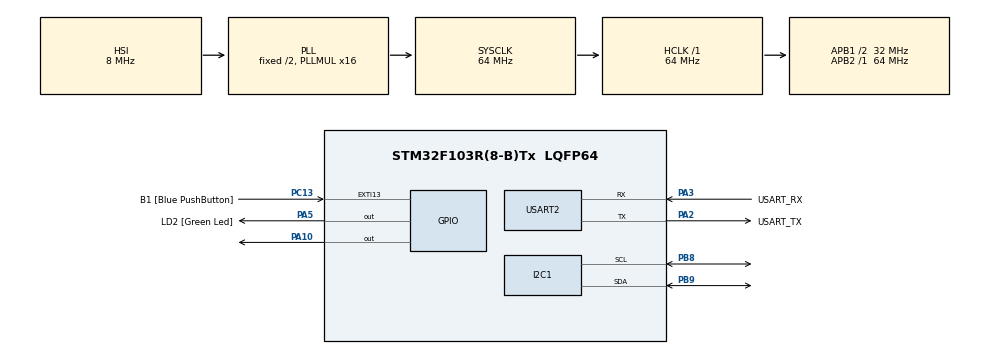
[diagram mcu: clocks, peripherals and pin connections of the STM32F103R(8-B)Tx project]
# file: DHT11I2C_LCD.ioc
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Mcu.Family=STM32F1
Mcu.Name=STM32F103R(8-B)Tx
Mcu.Package=LQFP64
NVIC.EXTI15_10_IRQn=true\:0\:0\:false\:false\:true\:true\:true\:true
NVIC.PriorityGroup=NVIC_PRIORITYGROUP_4
PA10.Signal=GPIO_Output
PA13.GPIO_Label=TMS
PA13.Mode=Serial_Wire
PA13.Signal=SYS_JTMS-SWDIO
PA14.GPIO_Label=TCK
PA14.Mode=Serial_Wire
PA14.Signal=SYS_JTCK-SWCLK
PA2.GPIO_Label=USART_TX
PA2.GPIO_Mode=GPIO_MODE_AF_PP
PA2.GPIO_PuPd=GPIO_NOPULL
PA2.GPIO_Speed=GPIO_SPEED_FREQ_LOW
PA2.Mode=Asynchronous
PA2.Signal=USART2_TX
PA3.GPIO_Label=USART_RX
PA3.GPIO_Mode=GPIO_MODE_AF_PP
PA3.GPIO_PuPd=GPIO_NOPULL
PA3.GPIO_Speed=GPIO_SPEED_FREQ_LOW
PA3.Mode=Asynchronous
PA3.Signal=USART2_RX
PA5.GPIO_Label=LD2 [Green Led]
PA5.GPIO_ModeDefaultOutputPP=GPIO_MODE_OUTPUT_PP
PA5.GPIO_PuPd=GPIO_NOPULL
PA5.GPIO_Speed=GPIO_SPEED_FREQ_LOW
PA5.Signal=GPIO_Output
PB3.GPIO_Label=SWO
PB3.Signal=SYS_JTDO-TRACESWO
PB8.Mode=I2C
PB8.Signal=I2C1_SCL
PB9.Mode=I2C
PB9.Signal=I2C1_SDA
PC13-TAMPER-RTC.GPIO_Label=B1 [Blue PushButton]
PC13-TAMPER-RTC.GPIO_PuPd=GPIO_NOPULL
PC13-TAMPER-RTC.Signal=GPXTI13
PC14-OSC32_IN.Signal=RCC_OSC32_IN
PC15-OSC32_OUT.Signal=RCC_OSC32_OUT
PD0-OSC_IN.Signal=RCC_OSC_IN
PD1-OSC_OUT.Signal=RCC_OSC_OUT
ProjectManager.HeapSize=0x200
ProjectManager.StackSize=0x400
ProjectManager.TargetToolchain=STM32CubeIDE
RCC.AHBFreq_Value=64000000
RCC.APB1CLKDivider=RCC_HCLK_DIV2
RCC.APB1Freq_Value=32000000
RCC.APB1TimFreq_Value=64000000
RCC.APB2Freq_Value=64000000
RCC.APB2TimFreq_Value=64000000
RCC.HCLKFreq_Value=64000000
RCC.PLLMUL=RCC_PLL_MUL16
RCC.RTCClockSelection=RCC_RTCCLKSOURCE_LSE
RCC.SYSCLKFreq_VALUE=64000000
RCC.SYSCLKSource=RCC_SYSCLKSOURCE_PLLCLK
RCC.USBFreq_Value=64000000
TIM1.Prescaler=64-1
USART2.VirtualMode=VM_ASYNC
VP_TIM1_VS_ClockSourceINT.Mode=Internal
board=NUCLEO-F103RB

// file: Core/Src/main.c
/* USER CODE BEGIN Header */
/**
  ******************************************************************************
  * @file           : main.c
  * @brief          : Main program body
  ******************************************************************************
  * @attention
  *
  * Copyright (c) 2026 STMicroelectronics.
  * All rights reserved.
  *
  * This software is licensed under terms that can be found in the LICENSE file
  * in the root directory of this software component.
  * If no LICENSE file comes with this software, it is provided AS-IS.
  *
  ******************************************************************************
  */
/* USER CODE END Header */
#include "main.h"

/* USER CODE BEGIN Includes */
#include "liquidcrystal_i2c.h"
#include "dht11.h"
/* USER CODE END Includes */

I2C_HandleTypeDef hi2c1;

TIM_HandleTypeDef htim1;

UART_HandleTypeDef huart2;

void SystemClock_Config(void);
static void MX_GPIO_Init(void);
static void MX_I2C1_Init(void);
static void MX_TIM1_Init(void);
static void MX_USART2_UART_Init(void);

int main(void)
{

  /* USER CODE BEGIN 1 */
	uint8_t i_RH, d_RH, i_Tmp, d_Tmp;
  /* USER CODE END 1 */

  /* MCU Configuration--------------------------------------------------------*/

  /* Reset of all peripherals, Initializes the Flash interface and the Systick. */
  HAL_Init();

  /* Configure the system clock */
  SystemClock_Config();

  /* Initialize all configured peripherals */
  MX_GPIO_Init();
  MX_I2C1_Init();
  MX_TIM1_Init();
  MX_USART2_UART_Init();
  /* USER CODE BEGIN 2 */
  	  LCD_INIT();
  	  //printf("DHT11 Start!\n");
     HAL_TIM_Base_Start(&htim1);
     DHT11_Init();
     HAL_Delay(2000);

  /* USER CODE END 2 */

  /* Infinite loop */
  /* USER CODE BEGIN WHILE */
  while (1)
  {
	  DHT11_trriger();

	 	 	  Set_Pin_Input(DHT11_PORT, DHT11_PIN);
	 	 	  DHT11_dumi_read();
	 	 	  i_RH = DHT11_rx_Data();
	 	 	  d_RH = DHT11_rx_Data();
	 	 	  i_Tmp = DHT11_rx_Data();
	 	 	  d_Tmp = DHT11_rx_Data();

	 	 	  Set_Pin_Output(DHT11_PORT, DHT11_PIN);

	 	 	  HAL_GPIO_WritePin(DHT11_PORT, DHT11_PIN, 1);
	 	 	  //printf("temp = %d, humi = %d\n", i_Tmp, i_RH);

	 	 	  LCD_XY(0, 0);
	 	 	  LCD_DATA(i_Tmp/10+'0');
	 	 	  LCD_DATA(i_Tmp%10+'0');
	 	 	  LCD_XY(0,1);
	 	 	  LCD_DATA(i_RH/10+'0');
	 	 	  LCD_DATA(i_RH%10+'0');

	 	 	  HAL_Delay(1500);
    /* USER CODE END WHILE */

  }
}

void SystemClock_Config(void)
{
  RCC_OscInitTypeDef RCC_OscInitStruct = {0};
  RCC_ClkInitTypeDef RCC_ClkInitStruct = {0};

  /** Initializes the RCC Oscillators according to the specified parameters
  * in the RCC_OscInitTypeDef structure.
  */
  RCC_OscInitStruct.OscillatorType = RCC_OSCILLATORTYPE_HSI;
  RCC_OscInitStruct.HSIState = RCC_HSI_ON;
  RCC_OscInitStruct.HSICalibrationValue = RCC_HSICALIBRATION_DEFAULT;
  RCC_OscInitStruct.PLL.PLLState = RCC_PLL_ON;
  RCC_OscInitStruct.PLL.PLLSource = RCC_PLLSOURCE_HSI_DIV2;
  RCC_OscInitStruct.PLL.PLLMUL = RCC_PLL_MUL16;
  if (HAL_RCC_OscConfig(&RCC_OscInitStruct) != HAL_OK)
  {
    Error_Handler();
  }

  /** Initializes the CPU, AHB and APB buses clocks
  */
  RCC_ClkInitStruct.ClockType = RCC_CLOCKTYPE_HCLK|RCC_CLOCKTYPE_SYSCLK
                              |RCC_CLOCKTYPE_PCLK1|RCC_CLOCKTYPE_PCLK2;
  RCC_ClkInitStruct.SYSCLKSource = RCC_SYSCLKSOURCE_PLLCLK;
  RCC_ClkInitStruct.AHBCLKDivider = RCC_SYSCLK_DIV1;
  RCC_ClkInitStruct.APB1CLKDivider = RCC_HCLK_DIV2;
  RCC_ClkInitStruct.APB2CLKDivider = RCC_HCLK_DIV1;

  if (HAL_RCC_ClockConfig(&RCC_ClkInitStruct, FLASH_LATENCY_2) != HAL_OK)
  {
    Error_Handler();
  }
}

static void MX_I2C1_Init(void)
{

  hi2c1.Instance = I2C1;
  hi2c1.Init.ClockSpeed = 100000;
  hi2c1.Init.DutyCycle = I2C_DUTYCYCLE_2;
  hi2c1.Init.OwnAddress1 = 0;
  hi2c1.Init.AddressingMode = I2C_ADDRESSINGMODE_7BIT;
  hi2c1.Init.DualAddressMode = I2C_DUALADDRESS_DISABLE;
  hi2c1.Init.OwnAddress2 = 0;
  hi2c1.Init.GeneralCallMode = I2C_GENERALCALL_DISABLE;
  hi2c1.Init.NoStretchMode = I2C_NOSTRETCH_DISABLE;
  if (HAL_I2C_Init(&hi2c1) != HAL_OK)
  {
    Error_Handler();
  }

}

static void MX_TIM1_Init(void)
{

  TIM_ClockConfigTypeDef sClockSourceConfig = {0};
  TIM_MasterConfigTypeDef sMasterConfig = {0};

  htim1.Instance = TIM1;
  htim1.Init.Prescaler = 64-1;
  htim1.Init.CounterMode = TIM_COUNTERMODE_UP;
  htim1.Init.Period = 65535;
  htim1.Init.ClockDivision = TIM_CLOCKDIVISION_DIV1;
  htim1.Init.RepetitionCounter = 0;
  htim1.Init.AutoReloadPreload = TIM_AUTORELOAD_PRELOAD_DISABLE;
  if (HAL_TIM_Base_Init(&htim1) != HAL_OK)
  {
    Error_Handler();
  }
  sClockSourceConfig.ClockSource = TIM_CLOCKSOURCE_INTERNAL;
  if (HAL_TIM_ConfigClockSource(&htim1, &sClockSourceConfig) != HAL_OK)
  {
    Error_Handler();
  }
  sMasterConfig.MasterOutputTrigger = TIM_TRGO_RESET;
  sMasterConfig.MasterSlaveMode = TIM_MASTERSLAVEMODE_DISABLE;
  if (HAL_TIMEx_MasterConfigSynchronization(&htim1, &sMasterConfig) != HAL_OK)
  {
    Error_Handler();
  }

}

static void MX_USART2_UART_Init(void)
{

  huart2.Instance = USART2;
  huart2.Init.BaudRate = 115200;
  huart2.Init.WordLength = UART_WORDLENGTH_8B;
  huart2.Init.StopBits = UART_STOPBITS_1;
  huart2.Init.Parity = UART_PARITY_NONE;
  huart2.Init.Mode = UART_MODE_TX_RX;
  huart2.Init.HwFlowCtl = UART_HWCONTROL_NONE;
  huart2.Init.OverSampling = UART_OVERSAMPLING_16;
  if (HAL_UART_Init(&huart2) != HAL_OK)
  {
    Error_Handler();
  }

}

static void MX_GPIO_Init(void)
{
  GPIO_InitTypeDef GPIO_InitStruct = {0};

  /* GPIO Ports Clock Enable */
  __HAL_RCC_GPIOC_CLK_ENABLE();
  __HAL_RCC_GPIOD_CLK_ENABLE();
  __HAL_RCC_GPIOA_CLK_ENABLE();
  __HAL_RCC_GPIOB_CLK_ENABLE();

  /*Configure GPIO pin Output Level */
  HAL_GPIO_WritePin(GPIOA, LD2_Pin|GPIO_PIN_10, GPIO_PIN_RESET);

  /*Configure GPIO pin : B1_Pin */
  GPIO_InitStruct.Pin = B1_Pin;
  GPIO_InitStruct.Mode = GPIO_MODE_IT_RISING;
  GPIO_InitStruct.Pull = GPIO_NOPULL;
  HAL_GPIO_Init(B1_GPIO_Port, &GPIO_InitStruct);

  /*Configure GPIO pins : LD2_Pin PA10 */
  GPIO_InitStruct.Pin = LD2_Pin|GPIO_PIN_10;
  GPIO_InitStruct.Mode = GPIO_MODE_OUTPUT_PP;
  GPIO_InitStruct.Pull = GPIO_NOPULL;
  GPIO_InitStruct.Speed = GPIO_SPEED_FREQ_LOW;
  HAL_GPIO_Init(GPIOA, &GPIO_InitStruct);

  /* EXTI interrupt init*/
  HAL_NVIC_SetPriority(EXTI15_10_IRQn, 0, 0);
  HAL_NVIC_EnableIRQ(EXTI15_10_IRQn);

}

void Error_Handler(void)
{
  __disable_irq();
  while (1)
  {
  }
}
